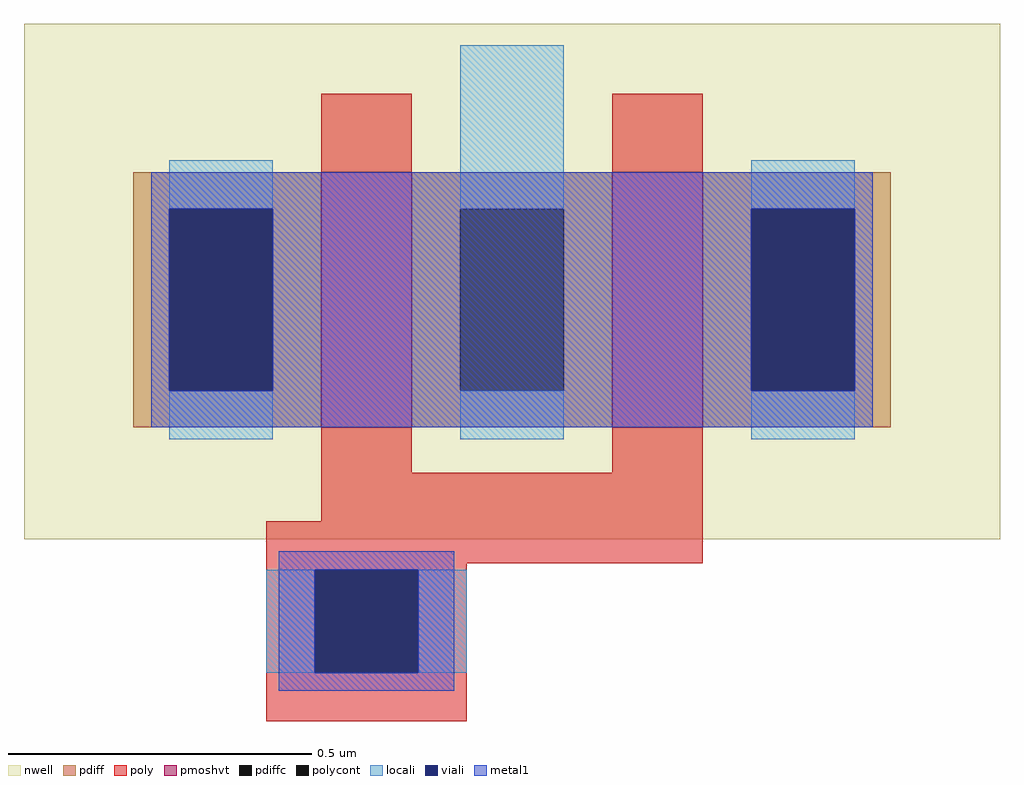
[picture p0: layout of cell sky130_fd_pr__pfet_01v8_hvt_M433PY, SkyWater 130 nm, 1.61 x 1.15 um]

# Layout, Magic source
magic
tech sky130A
magscale 1 2
<< nwell >>
rect -161 -79 161 91
<< pmoshvt >>
rect -63 -42 -33 42
rect 33 -42 63 42
<< pdiff >>
rect -125 30 -63 42
rect -125 -30 -113 30
rect -79 -30 -63 30
rect -125 -42 -63 -30
rect -33 30 33 42
rect -33 -30 -17 30
rect 17 -30 33 30
rect -33 -42 33 -30
rect 63 30 125 42
rect 63 -30 79 30
rect 113 -30 125 30
rect 63 -42 125 -30
<< pdiffc >>
rect -113 -30 -79 30
rect -17 -30 17 30
rect 79 -30 113 30
<< poly >>
rect -63 42 -33 68
rect 33 42 63 68
rect -63 -57 -33 -42
rect 33 -57 63 -42
rect -63 -73 63 -57
rect -81 -87 63 -73
rect -81 -89 -15 -87
rect -81 -123 -65 -89
rect -31 -123 -15 -89
rect -81 -139 -15 -123
<< polycont >>
rect -65 -123 -31 -89
<< locali >>
rect -113 30 -79 46
rect -113 -46 -79 -30
rect -17 30 17 84
rect -17 -46 17 -30
rect 79 30 113 46
rect 79 -46 113 -30
rect -81 -123 -65 -89
rect -31 -123 -15 -89
<< viali >>
rect -113 -30 -79 30
rect 79 -30 113 30
rect -65 -123 -31 -89
<< metal1 >>
rect -119 30 119 42
rect -119 -30 -113 30
rect -79 -30 79 30
rect 113 -30 119 30
rect -119 -42 119 -30
rect -77 -89 -19 -83
rect -77 -123 -65 -89
rect -31 -123 -19 -89
rect -77 -129 -19 -123
<< properties >>
string FIXED_BBOX -210 -208 210 208
string gencell sky130_fd_pr__pfet_01v8_hvt
string library sky130
string parameters w 0.42 l 0.15 m 1 nf 2 diffcov 100 polycov 100 guard 1 glc 1 grc 1 gtc 1 gbc 1 tbcov 100 rlcov 100 topc 1 botc 1 poverlap 0 doverlap 1 lmin 0.15 wmin 0.42 compatible {sky130_fd_pr__pfet_01v8  sky130_fd_pr__pfet_01v8_lvt sky130_fd_pr__pfet_01v8_hvt  sky130_fd_pr__pfet_g5v0d10v5} full_metal 1 viasrc 100 viadrn 100 viagate 100 viagb 0 viagr 0 viagl 0 viagt 0
<< end >>
